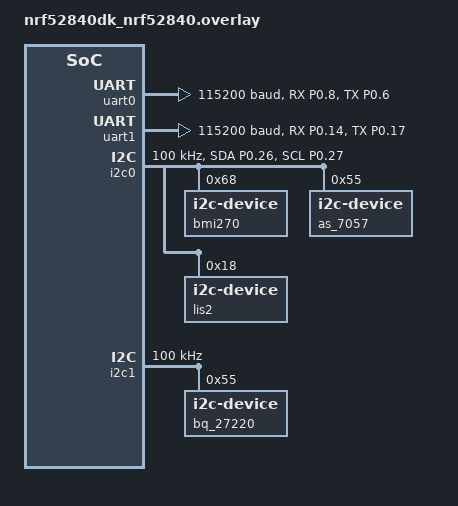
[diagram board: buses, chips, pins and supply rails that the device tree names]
// To get started, press Ctrl+Space to bring up the completion menu and view the available nodes.

// You can also use the buttons in the sidebar to perform actions on nodes.
// Actions currently available include:

// * Enabling / disabling the node
// * Adding the bus to a bus
// * Removing the node
// * Connecting ADC channels

// For more help, browse the DeviceTree documentation at https://docs.zephyrproject.org/latest/guides/dts/index.html
// You can also visit the nRF DeviceTree extension documentation at https://docs.nordicsemi.com/bundle/nrf-connect-vscode/page/guides/ncs_configure_app.html#devicetree-support-in-the-extension

&uart0{
	status = "okay";
	pinctrl-0 = <&uart0_default>;
	pinctrl-1 = <&uart0_sleep>;
	current-speed=<115200>;
	pinctrl-names = "default", "sleep";
};
&uart1{
	status = "okay";
	pinctrl-0 = <&uart1_default>;
	pinctrl-1 = <&uart1_sleep>;
	current-speed=<115200>;
	pinctrl-names = "default", "sleep";
};
&i2c0{
 	compatible = "nordic,nrf-twi";
 	status = "okay";
	clock-frequency = <100000>;
 	pinctrl-0 = <&i2c0_default>;
 	pinctrl-1 = <&i2c0_sleep>;
 	pinctrl-names = "default", "sleep";

	/*icm20948: icm20948@68 {
		compatible = "i2c-device";
		reg = <0x68>;
		label = "icm_20948";
	};*/

	bmi270: bmi270@68 {
		compatible = "i2c-device";
		reg = <0x68>;
	};


	as7057: as7057@55 {
		compatible = "i2c-device";
		reg = <0x55>;
		label = "as_7057";
	};

	lis2dux12: lis2dux12@18 {
		compatible = "i2c-device";
		reg = <0x18>;
		label = "lis2";
	};
};

&i2c1{
 	compatible = "nordic,nrf-twi";
 	status = "okay";
	clock-frequency = <100000>;
 	pinctrl-0 = <&i2c1_default>;
 	pinctrl-1 = <&i2c1_sleep>;
 	pinctrl-names = "default", "sleep";

	bq27220: bq27220@55 {
		compatible = "i2c-device";
		reg = <0x55>;
		label = "bq_27220";
	};
};

&gpio0{
	status = "okay";
};
&gpio1{
	status = "okay";
};

&gpiote{
	status = "okay";
};

&pinctrl {

	uart0_sleep: uart0_sleep {
		group_uart_pin {
			psels = <NRF_PSEL(UART_RX, 0, 8)>, <NRF_PSEL(UART_TX, 0, 6)>;
			low-power-enable;
		};
	};

	uart0_default: uart0_default {
		group_uart_pin {
			psels = <NRF_PSEL(UART_RX, 0, 8)>, <NRF_PSEL(UART_TX, 0, 6)>;
		};
	};

	uart1_sleep: uart1_sleep {
		group_uart_pin {
			psels = <NRF_PSEL(UART_RX, 0, 14)>, <NRF_PSEL(UART_TX, 0, 17)>;
			low-power-enable;
		};
	};

	uart1_default: uart1_default {
		group_uart_pin {
			psels = <NRF_PSEL(UART_RX, 0, 14)>, <NRF_PSEL(UART_TX, 0, 17)>;
		};
	};

	i2c0_default: i2c0_default {
			group1 {
				psels = < NRF_PSEL(TWIM_SDA, 0, 26) >, <NRF_PSEL(TWIM_SCL, 0, 27) >;
			};
		};
	i2c0_sleep: i2c0_sleep {
		group1 {
			psels = <NRF_PSEL(TWIM_SDA, 0, 26) >, <NRF_PSEL(TWIM_SCL, 0, 27) >;
			low-power-enable;
		};
	};
	i2c1_default: i2c1_default {
		group1 {
			psels = < 0x18000c >, < 0x16000b >;
		};
	};
	i2c1_sleep: i2c1_sleep {
		group1 {
			psels = < 0x18000c >, < 0x16000b >;
			low-power-enable;
		};
	};
};
